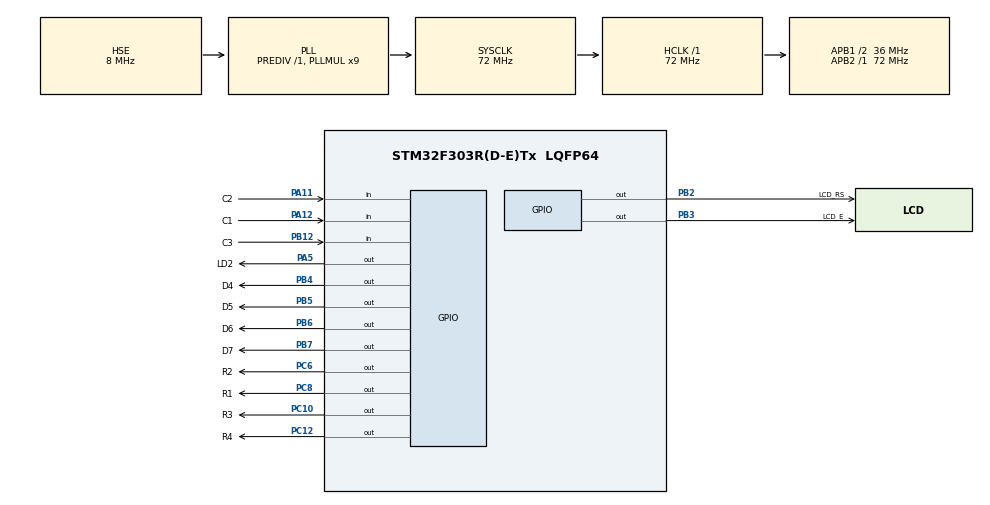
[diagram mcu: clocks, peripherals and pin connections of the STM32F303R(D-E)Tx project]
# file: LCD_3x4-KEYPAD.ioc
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Mcu.Family=STM32F3
RCC.CortexFreq_Value=72000000
PC10.Signal=GPIO_Output
PC12.Signal=GPIO_Output
RCC.SYSCLKSourceVirtual=RCC_SYSCLKSOURCE_PLLCLK
PC6.GPIO_Label=R2
PB6.GPIO_Label=D6
PC10.GPIO_Speed=GPIO_SPEED_FREQ_HIGH
PA11.GPIO_PuPd=GPIO_PULLUP
ProjectManager.StackSize=0x400
PA12.Signal=GPIO_Input
RCC.HCLKFreq_Value=72000000
RCC.APB2TimFreq_Value=72000000
PB6.Signal=GPIO_Output
PB5.PinState=GPIO_PIN_SET
RCC.AHBFreq_Value=72000000
RCC.HSE_VALUE=8000000
PB2.Signal=GPIO_Output
RCC.RCC_PLLsource_Clock_Source_FROM_HSE=RCC_HSE_PREDIV_DIV2
RCC.PLLMUL=RCC_PLL_MUL9
PB12.GPIO_Label=C3
PA14.Mode=Serial_Wire
PB7.Signal=GPIO_Output
PB7.PinState=GPIO_PIN_SET
PB7.GPIO_Label=D7
PC10.GPIO_ModeDefaultOutputPP=GPIO_MODE_OUTPUT_OD
Mcu.Package=LQFP64
RCC.EnbaleCSS=true
PC8.GPIO_ModeDefaultOutputPP=GPIO_MODE_OUTPUT_OD
PC8.GPIO_Speed=GPIO_SPEED_FREQ_HIGH
PB5.GPIO_Label=D5
RCC.APB1TimFreq_Value=72000000
PC12.GPIO_PuPd=GPIO_NOPULL
PA12.GPIO_PuPd=GPIO_PULLUP
PF1-OSC_OUT.Mode=HSE-External-Oscillator
PB4.PinState=GPIO_PIN_SET
PC6.GPIO_Speed=GPIO_SPEED_FREQ_HIGH
PF1-OSC_OUT.Signal=RCC_OSC_OUT
PC6.GPIO_ModeDefaultOutputPP=GPIO_MODE_OUTPUT_OD
PB4.Signal=GPIO_Output
PB3.GPIO_Label=LCD_E
RCC.PLLSourceVirtual=RCC_PLLSOURCE_HSE
PC10.GPIO_Label=R3
PC8.Signal=GPIO_Output
PC6.Signal=GPIO_Output
PA11.GPIO_Label=C2
PC12.GPIO_ModeDefaultOutputPP=GPIO_MODE_OUTPUT_OD
RCC.APB1CLKDivider=RCC_HCLK_DIV2
PA12.GPIO_Label=C1
PC8.GPIO_Label=R1
PA13.Signal=SYS_JTMS-SWDIO
ProjectManager.TargetToolchain=STM32CubeIDE
RCC.USBFreq_Value=72000000
RCC.LSE_VALUE=32768
PF0-OSC_IN.Mode=HSE-External-Oscillator
PA5.Signal=GPIO_Output
board=NUCLEO-F303RE
RCC.APB2Freq_Value=72000000
PB4.GPIO_Label=D4
PA13.Mode=Serial_Wire
Mcu.Name=STM32F303R(D-E)Tx
PB3.Signal=GPIO_Output
RCC.SYSCLKFreq_VALUE=72000000
PB5.Signal=GPIO_Output
PA5.GPIO_Label=LD2
PC12.GPIO_Label=R4
PB6.PinState=GPIO_PIN_SET
PA11.Signal=GPIO_Input
PA14.Signal=SYS_JTCK-SWCLK
PB2.GPIO_Label=LCD_RS
ProjectManager.HeapSize=0x200
RCC.HSI_VALUE=8000000
RCC.PLLP=RCC_PLLP_DIV4
RCC.PLLQ=7
NVIC.PriorityGroup=NVIC_PRIORITYGROUP_0
RCC.PLLM=8
RCC.PLLN=336
PF0-OSC_IN.Signal=RCC_OSC_IN
PB12.GPIO_PuPd=GPIO_PULLUP
RCC.APB1Freq_Value=36000000
PC12.GPIO_Speed=GPIO_SPEED_FREQ_HIGH
PB12.Signal=GPIO_Input

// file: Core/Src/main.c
/* USER CODE BEGIN Header */
/**
  ******************************************************************************
  * @file           : main.c
  * @brief          : Main program body
  ******************************************************************************
  * @attention
  *
  * <h2><center>&copy; Copyright (c) 2021 STMicroelectronics.
  * All rights reserved.</center></h2>
  *
  * This software component is licensed by ST under BSD 3-Clause license,
  * the "License"; You may not use this file except in compliance with the
  * License. You may obtain a copy of the License at:
  *                        opensource.org/licenses/BSD-3-Clause
  *
  ******************************************************************************
  */
/* USER CODE END Header */
#include "main.h"

/* USER CODE BEGIN Includes */
#include "string.h"
/* USER CODE END Includes */

void SystemClock_Config(void);
static void MX_GPIO_Init(void);
/* USER CODE BEGIN PFP */
void InitLCD(void);
void lcd_init_write(unsigned char value);
void epulse(void);
void delay_us ();
void lcd_cmd(unsigned char cmd);
void lcd_write_data (char harf);
void lcd_data(unsigned char satir, unsigned char sutun, const char *mesaj);

char keypad_scanner(void);
int _write(int file, char *ptr, int len);
/* USER CODE END PFP */

int main(void)
{

  /* MCU Configuration--------------------------------------------------------*/

  /* Reset of all peripherals, Initializes the Flash interface and the Systick. */
  HAL_Init();

  /* Configure the system clock */
  SystemClock_Config();

  /* Initialize all configured peripherals */
  MX_GPIO_Init();
  /* USER CODE BEGIN 2 */
  char* key;

  int pos = 5;

  InitLCD();
  lcd_data(1, 3, "LCD & KEYPAD");
  lcd_data(2, 1, "KEY:");

  /* USER CODE END 2 */

  /* Infinite loop */
  /* USER CODE BEGIN WHILE */
  while (1)
  {
	  key = keypad_scanner();

	  HAL_Delay(100);

	  if (key != 'n')
	  {
		  lcd_data(2, pos, &key);

		  if(pos >= 16)
		  {
			  HAL_Delay(100);

			  pos = 5;

			  lcd_data(2, pos, "                ");
			  lcd_data(2, 1, "KEY:");
			  lcd_data(2, pos, &key);

			  pos++;
		  }

		  else
		  {
			  pos++;
		  }
	  }
    /* USER CODE END WHILE */
  }
}

void SystemClock_Config(void)
{
  RCC_OscInitTypeDef RCC_OscInitStruct = {0};
  RCC_ClkInitTypeDef RCC_ClkInitStruct = {0};

  /** Initializes the RCC Oscillators according to the specified parameters
  * in the RCC_OscInitTypeDef structure.
  */
  RCC_OscInitStruct.OscillatorType = RCC_OSCILLATORTYPE_HSE;
  RCC_OscInitStruct.HSEState = RCC_HSE_ON;
  RCC_OscInitStruct.HSIState = RCC_HSI_ON;
  RCC_OscInitStruct.PLL.PLLState = RCC_PLL_ON;
  RCC_OscInitStruct.PLL.PLLSource = RCC_PLLSOURCE_HSE;
  RCC_OscInitStruct.PLL.PLLMUL = RCC_PLL_MUL9;
  RCC_OscInitStruct.PLL.PREDIV = RCC_PREDIV_DIV1;
  if (HAL_RCC_OscConfig(&RCC_OscInitStruct) != HAL_OK)
  {
    Error_Handler();
  }
  /** Initializes the CPU, AHB and APB buses clocks
  */
  RCC_ClkInitStruct.ClockType = RCC_CLOCKTYPE_HCLK|RCC_CLOCKTYPE_SYSCLK
                              |RCC_CLOCKTYPE_PCLK1|RCC_CLOCKTYPE_PCLK2;
  RCC_ClkInitStruct.SYSCLKSource = RCC_SYSCLKSOURCE_PLLCLK;
  RCC_ClkInitStruct.AHBCLKDivider = RCC_SYSCLK_DIV1;
  RCC_ClkInitStruct.APB1CLKDivider = RCC_HCLK_DIV2;
  RCC_ClkInitStruct.APB2CLKDivider = RCC_HCLK_DIV1;

  if (HAL_RCC_ClockConfig(&RCC_ClkInitStruct, FLASH_LATENCY_2) != HAL_OK)
  {
    Error_Handler();
  }
  /** Enables the Clock Security System
  */
  HAL_RCC_EnableCSS();
}

static void MX_GPIO_Init(void)
{
  GPIO_InitTypeDef GPIO_InitStruct = {0};

  /* GPIO Ports Clock Enable */
  __HAL_RCC_GPIOF_CLK_ENABLE();
  __HAL_RCC_GPIOA_CLK_ENABLE();
  __HAL_RCC_GPIOB_CLK_ENABLE();
  __HAL_RCC_GPIOC_CLK_ENABLE();

  /*Configure GPIO pin Output Level */
  HAL_GPIO_WritePin(LD2_GPIO_Port, LD2_Pin, GPIO_PIN_RESET);

  /*Configure GPIO pin Output Level */
  HAL_GPIO_WritePin(GPIOB, LCD_RS_Pin|LCD_E_Pin, GPIO_PIN_RESET);

  /*Configure GPIO pin Output Level */
  HAL_GPIO_WritePin(GPIOC, R2_Pin|R1_Pin|R3_Pin|R4_Pin, GPIO_PIN_RESET);

  /*Configure GPIO pin Output Level */
  HAL_GPIO_WritePin(GPIOB, D4_Pin|D5_Pin|D6_Pin|D7_Pin, GPIO_PIN_SET);

  /*Configure GPIO pin : LD2_Pin */
  GPIO_InitStruct.Pin = LD2_Pin;
  GPIO_InitStruct.Mode = GPIO_MODE_OUTPUT_PP;
  GPIO_InitStruct.Pull = GPIO_NOPULL;
  GPIO_InitStruct.Speed = GPIO_SPEED_FREQ_LOW;
  HAL_GPIO_Init(LD2_GPIO_Port, &GPIO_InitStruct);

  /*Configure GPIO pins : LCD_RS_Pin LCD_E_Pin D4_Pin D5_Pin
                           D6_Pin D7_Pin */
  GPIO_InitStruct.Pin = LCD_RS_Pin|LCD_E_Pin|D4_Pin|D5_Pin
                          |D6_Pin|D7_Pin;
  GPIO_InitStruct.Mode = GPIO_MODE_OUTPUT_PP;
  GPIO_InitStruct.Pull = GPIO_NOPULL;
  GPIO_InitStruct.Speed = GPIO_SPEED_FREQ_LOW;
  HAL_GPIO_Init(GPIOB, &GPIO_InitStruct);

  /*Configure GPIO pin : C3_Pin */
  GPIO_InitStruct.Pin = C3_Pin;
  GPIO_InitStruct.Mode = GPIO_MODE_INPUT;
  GPIO_InitStruct.Pull = GPIO_PULLUP;
  HAL_GPIO_Init(C3_GPIO_Port, &GPIO_InitStruct);

  /*Configure GPIO pins : R2_Pin R1_Pin R3_Pin R4_Pin */
  GPIO_InitStruct.Pin = R2_Pin|R1_Pin|R3_Pin|R4_Pin;
  GPIO_InitStruct.Mode = GPIO_MODE_OUTPUT_OD;
  GPIO_InitStruct.Pull = GPIO_NOPULL;
  GPIO_InitStruct.Speed = GPIO_SPEED_FREQ_HIGH;
  HAL_GPIO_Init(GPIOC, &GPIO_InitStruct);

  /*Configure GPIO pins : C2_Pin C1_Pin */
  GPIO_InitStruct.Pin = C2_Pin|C1_Pin;
  GPIO_InitStruct.Mode = GPIO_MODE_INPUT;
  GPIO_InitStruct.Pull = GPIO_PULLUP;
  HAL_GPIO_Init(GPIOA, &GPIO_InitStruct);

}

/* USER CODE BEGIN 4 */
void InitLCD (void)
{
  HAL_Delay (200);
  lcd_init_write(0x30); //Special Sequence:Write Function Set.
  HAL_Delay (10);
  lcd_init_write(0x30); //Special Sequence:Write Function Set.
  HAL_Delay (10);
  lcd_init_write(0x30); //Special Sequence:Write Function Set.
  HAL_Delay (10);
  lcd_init_write(0x20); //Special Sequence:Write Function Set.
  HAL_Delay (10);

  lcd_cmd(0x28);//Function set(001(DL)NFxx)-DL=0 (4bit), N=1 (2 satir),F=0 (5X8))
  lcd_cmd(0x08);//Display control (0000 1DCB)-display is off, cursor is off, blinking is off
  lcd_cmd(0x01);//Clear Display
  lcd_cmd(0x06);  // Entry mode set (0000 01(I/D)S), Automatic Increment - No Display shift.
   // Initialization ends
  lcd_cmd(0x0F);//Display control(0000 1DCB)--display is on, cursor is on, blinking is on

}
void lcd_init_write(unsigned char value)
{

	HAL_GPIO_WritePin (LCD_RS_GPIO_Port, LCD_RS_Pin,0);  //LCD_RS=0;
	GPIOB->ODR= (GPIOB->ODR & 0x0F) | (value & 0xF0) ;        //Make No Affect on other Port Pins
	epulse(); //Send Enable Signal to LCD
	HAL_GPIO_WritePin (LCD_RS_GPIO_Port, LCD_RS_Pin,1);  //LCD_RS=1;

}
void epulse()
{
	HAL_GPIO_WritePin (LCD_E_GPIO_Port, LCD_E_Pin,1);  //LCD_E=1;
	delay_us();
	HAL_GPIO_WritePin (LCD_E_GPIO_Port, LCD_E_Pin,0);  //LCD_E=0;
	delay_us();
}
void delay_us ()
{
	unsigned int time=680; //delay=1us/170x2x680=8us
	while (time--);

}
void lcd_cmd(unsigned char cmd)
{
	     HAL_GPIO_WritePin (LCD_RS_GPIO_Port, LCD_RS_Pin,0);  //LCD_RS=0;
	     GPIOB->ODR= (GPIOB->ODR & 0x0F) | (cmd & 0xF0) ;        //Make No Affect on other Port Pins
	     //Send Higher Nibble to LCDPORT
	     epulse(); //Send Enable Signal to LCD
	     GPIOB->ODR = (GPIOB->ODR & 0x0f) | (cmd<<4);//Make No Affect on other Port Pins
	     //Send Lower Nibble to LCDPORT
	     epulse(); //Send Enable Signal to LCD
	     HAL_GPIO_WritePin (LCD_RS_GPIO_Port, LCD_RS_Pin,1);  //LCD_RS=1;
	     HAL_Delay(10);

}
void lcd_write_data (char harf)
{
	HAL_GPIO_WritePin (LCD_RS_GPIO_Port, LCD_RS_Pin,1);  //LCD_RS=1;
	GPIOB->ODR = (GPIOB->ODR & 0x0f) | (harf & 0xf0);//Make No Affect on other Port Pins
     //Send Higher Nibble to LCDPORT
    epulse(); //Send Enable Signal to LCD
    GPIOB->ODR = (GPIOB->ODR & 0x0f) | (harf<<4);//Make No Affect on other Port Pins
     //Send Lower Nibble to LCDPORT
     epulse(); //Send Enable Signal to LCD
     HAL_GPIO_WritePin (LCD_RS_GPIO_Port, LCD_RS_Pin,0);  //LCD_RS=0;

     HAL_Delay(10);

}
void lcd_data(unsigned char satir, unsigned char sutun, const char *mesaj)
{
	char temp;

	switch(satir)
	{
		case 1:
			temp=sutun-1+ 0x80;
			break;
		case 2:
			temp= sutun-1+0xc0;
			break;
	}

	lcd_cmd(temp);

	do
	{
		lcd_write_data(*mesaj++);

	}while(*mesaj);

}

char keypad_scanner(void)
{
	HAL_GPIO_WritePin(R1_GPIO_Port, R1_Pin, 0); //Pin voltage level is '0'
	HAL_GPIO_WritePin(R2_GPIO_Port, R2_Pin, 1); //Pin voltage level is '1'
	HAL_GPIO_WritePin(R3_GPIO_Port, R3_Pin, 1); //Pin voltage level is '1'
	HAL_GPIO_WritePin(R4_GPIO_Port, R4_Pin, 1); //Pin voltage level is '1'

	if (HAL_GPIO_ReadPin(C1_GPIO_Port, C1_Pin)==0)
	{
		HAL_Delay(50);
		while (HAL_GPIO_ReadPin(C1_GPIO_Port, C1_Pin)==0);
		HAL_Delay(50);

		return '1';
	}

	else if (HAL_GPIO_ReadPin(C2_GPIO_Port, C2_Pin)==0)
	{
		HAL_Delay(50);
		while (HAL_GPIO_ReadPin(C2_GPIO_Port, C2_Pin)==0);
		HAL_Delay(50);

		return '2';
	}

	else if (HAL_GPIO_ReadPin(C3_GPIO_Port, C3_Pin)==0)
	{
		HAL_Delay(50);
		while (HAL_GPIO_ReadPin(C3_GPIO_Port, C3_Pin)==0);
		HAL_Delay(50);

		return '3';
	}

	HAL_Delay(50);

	HAL_GPIO_WritePin(R1_GPIO_Port, R1_Pin, 1); //Pin voltage level is '1'
	HAL_GPIO_WritePin(R2_GPIO_Port, R2_Pin, 0); //Pin voltage level is '0'
	HAL_GPIO_WritePin(R3_GPIO_Port, R3_Pin, 1); //Pin voltage level is '1'
	HAL_GPIO_WritePin(R4_GPIO_Port, R4_Pin, 1); //Pin voltage level is '1'

	if (HAL_GPIO_ReadPin(C1_GPIO_Port, C1_Pin)==0)
	{
		HAL_Delay(50);
		while (HAL_GPIO_ReadPin(C1_GPIO_Port, C1_Pin)==0);
		HAL_Delay(50);

		return '4';
	}

	else if (HAL_GPIO_ReadPin(C2_GPIO_Port, C2_Pin)==0)
	{
		HAL_Delay(50);
		while (HAL_GPIO_ReadPin(C2_GPIO_Port, C2_Pin)==0);
		HAL_Delay(50);

		return '5';
	}

	else if (HAL_GPIO_ReadPin(C3_GPIO_Port, C3_Pin)==0)
	{
		HAL_Delay(50);
		while (HAL_GPIO_ReadPin(C3_GPIO_Port, C3_Pin)==0);
		HAL_Delay(50);

		return '6';
	}

	HAL_Delay(50);

	HAL_GPIO_WritePin(R1_GPIO_Port, R1_Pin, 1); //Pin voltage level is '1'
	HAL_GPIO_WritePin(R2_GPIO_Port, R2_Pin, 1); //Pin voltage level is '1'
	HAL_GPIO_WritePin(R3_GPIO_Port, R3_Pin, 0); //Pin voltage level is '0'
	HAL_GPIO_WritePin(R4_GPIO_Port, R4_Pin, 1); //Pin voltage level is '1'

	if (HAL_GPIO_ReadPin(C1_GPIO_Port, C1_Pin)==0)
	{
		HAL_Delay(50);
		while (HAL_GPIO_ReadPin(C1_GPIO_Port, C1_Pin)==0);
		HAL_Delay(50);

		return '7';
	}

	else if (HAL_GPIO_ReadPin(C2_GPIO_Port, C2_Pin)==0)
	{
		HAL_Delay(50);
		while (HAL_GPIO_ReadPin(C2_GPIO_Port, C2_Pin)==0);
		HAL_Delay(50);

		return '8';
	}

	else if (HAL_GPIO_ReadPin(C3_GPIO_Port, C3_Pin)==0)
	{
		HAL_Delay(50);
		while (HAL_GPIO_ReadPin(C3_GPIO_Port, C3_Pin)==0);
		HAL_Delay(50);

		return '9';
	}

	HAL_Delay(50);

	HAL_GPIO_WritePin(R1_GPIO_Port, R1_Pin, 1); //Pin voltage level is '1'
	HAL_GPIO_WritePin(R2_GPIO_Port, R2_Pin, 1); //Pin voltage level is '1'
	HAL_GPIO_WritePin(R3_GPIO_Port, R3_Pin, 1); //Pin voltage level is '1'
	HAL_GPIO_WritePin(R4_GPIO_Port, R4_Pin, 0); //Pin voltage level is '0'

	if (HAL_GPIO_ReadPin(C1_GPIO_Port, C1_Pin)==0)
	{
		HAL_Delay(50);
		while (HAL_GPIO_ReadPin(C1_GPIO_Port, C1_Pin)==0);
		HAL_Delay(50);

		return '*';
	}

	else if (HAL_GPIO_ReadPin(C2_GPIO_Port, C2_Pin)==0)
	{
		HAL_Delay(50);
		while (HAL_GPIO_ReadPin(C2_GPIO_Port, C2_Pin)==0);
		HAL_Delay(50);

		return '0';
	}

	else if (HAL_GPIO_ReadPin(C3_GPIO_Port, C3_Pin)==0)
	{
		HAL_Delay(50);
		while (HAL_GPIO_ReadPin(C3_GPIO_Port, C3_Pin)==0);
		HAL_Delay(50);

		return '#';
	}

	HAL_Delay(50);

	return 'n';
}

int _write(int file, char *ptr, int len)
{
	  /* Implement your write code here, this is used by puts and printf for example */
	  int i=0;
	  for(i=0 ; i<len ; i++)
	  ITM_SendChar((*ptr++));
	  return len;
}
/* USER CODE END 4 */

void Error_Handler(void)
{
  __disable_irq();
  while (1)
  {
  }
}

/************************ (C) COPYRIGHT STMicroelectronics *****END OF FILE****/
